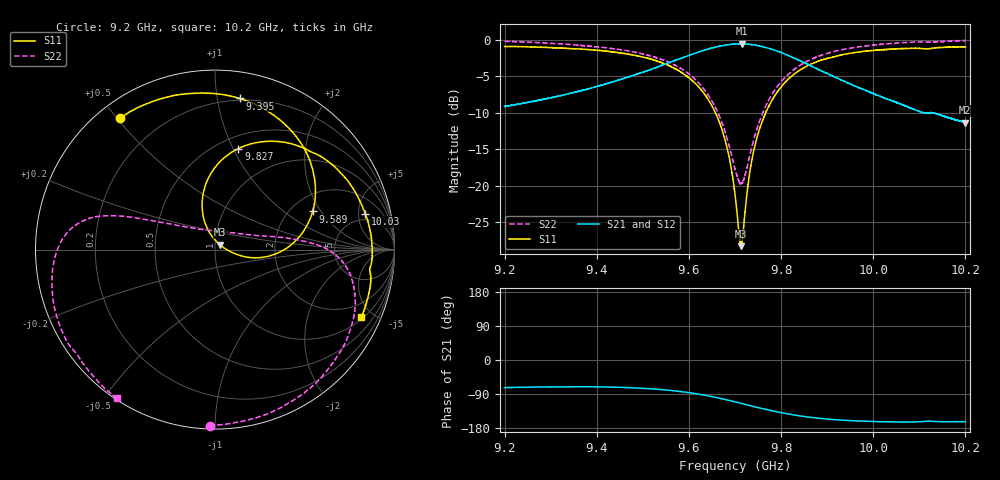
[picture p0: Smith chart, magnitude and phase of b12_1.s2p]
!Agilent Technologies,N5242A,MY51221714,A.09.90.19
!Agilent N5242A: A.09.90.19
!Date: Saturday, March 16, 2024 09:24:48
!Correction: S11(Full 2 Port(1,2))
!S21(Full 2 Port(1,2))
!S12(Full 2 Port(1,2))
!S22(Full 2 Port(1,2))
!S2P File: Measurements: S11, S21, S12, S22:
# Hz S  dB  R 50
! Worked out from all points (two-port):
!   16001 points, 9.2 GHz to 10.2 GHz, reference 50 ohm
!   highest |S21| = -0.52 dB at 9.715 GHz (marker M1); lowest = -11.3 dB at 10.2 GHz (marker M2)
!   |S21| within 3 dB of the highest: 9.539 GHz to 9.864 GHz (325 MHz wide, 3.35 % of centre); 9.864226 GHz to 9.864322 GHz (95.69 kHz wide, 0.00097 % of centre)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
!   lowest |S11| = -28.3 dB at 9.713 GHz (marker M3), VSWR 1.08, Z = 52.7 + j2.93 ohm
!   |S11| at or under -10 dB: 9.658 GHz to 9.766 GHz (108.7 MHz wide, 1.12 % of centre); 9.766384 GHz to 9.766509 GHz (124.6 kHz wide, 0.00128 % of centre)
!   |S22| runs from -19.7 to -0.1 dB; largest |S21 - S12| = 0.012
!   S11 on the Smith chart (normalised r, x): 9.2 GHz: 0.06, +0.51; 9.395 GHz: 0.19, +1.16; 9.589 GHz: 2.61, +1.68; 9.827 GHz: 0.62, +1.05; 10.03 GHz: 3.92, +6.03; 10.2 GHz: 1.11, -4.29
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9.2e9  -0.89 126.0  -9.12 -72.9  -9.10 -73.4  -0.16 -91.8
9.277688e9  -0.99 108.7  -8.22 -71.2  -8.20 -71.7  -0.38 -70.3
9.366688e9  -1.25 87.8  -6.94 -70.6  -6.92 -71.1  -0.74 -46.5
9.394875e9  -1.38 80.7  -6.47 -70.7  -6.44 -71.3  -0.91 -39.2
9.533375e9  -2.93 41.1  -3.67 -77.3  -3.66 -77.8  -2.51 -8.6
9.588875e9  -4.67 21.3  -2.37 -84.4  -2.37 -84.9  -4.16 0.5
9.661625e9  -10.58 -7.3  -0.92 -99.6  -0.90 -100.1  -9.81 13.0
9.684062e9  -15.14 -13.4  -0.66 -105.8  -0.64 -106.3  -13.78 23.9
9.7e9  -21.12 -7.7  -0.55 -110.4  -0.53 -111.0  -17.70 46.0
9.71275e9  -28.29 46.2  -0.53 -114.3  -0.51 -114.9  -19.69 82.8
9.715375e9  -27.74 66.8  -0.52 -115.1  -0.51 -115.7  -19.56 91.9
9.733062e9  -17.73 110.0  -0.61 -120.5  -0.60 -121.1  -15.55 134.3
9.75225e9  -12.40 107.2  -0.81 -126.2  -0.79 -126.9  -11.31 149.1
9.7845e9  -7.82 94.8  -1.37 -135.1  -1.37 -135.8  -7.05 157.2
9.826625e9  -4.76 77.0  -2.43 -144.8  -2.43 -145.3  -4.12 162.4
9.866688e9  -3.27 61.5  -3.62 -151.7  -3.60 -152.2  -2.63 167.0
9.9505e9  -1.81 34.2  -6.04 -160.0  -6.04 -160.5  -1.11 -179.7
1.002831e10  -1.30 13.4  -8.06 -163.1  -8.05 -163.6  -0.53 -163.9
1.003338e10  -1.28 12.0  -8.18 -163.2  -8.17 -163.8  -0.50 -162.8
1.010556e10  -1.17 -5.3  -9.93 -162.5  -9.93 -163.1  -0.26 -146.8
1.019962e10  -0.94 -24.6  -11.33 -162.6  -11.31 -163.2  -0.06 -123.4
1.02e10  -0.94 -24.7  -11.32 -162.6  -11.31 -163.3  -0.07 -123.3
